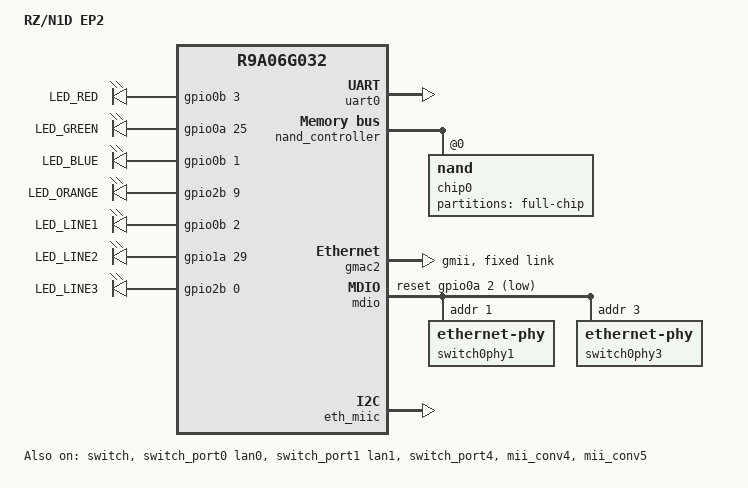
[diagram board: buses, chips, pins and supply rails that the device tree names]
// SPDX-License-Identifier: GPL-2.0
/*
 * Device Tree Source for the Renesas RZ/N1D EP2 board
 *
 * Copyright (C) 2018 Renesas Electronics Europe Limited
 * Copyright (C) 2021 Schneider Electric
 *
 */

/dts-v1/;

#include <dt-bindings/gpio/gpio.h>
#include <dt-bindings/pinctrl/rzn1-pinctrl.h>
#include <dt-bindings/net/pcs-rzn1-miic.h>
#include "r9a06g032.dtsi"

/ {
	model = "RZ/N1D EP2";
	compatible = "renesas,rzn1d400-ep2", "renesas,r9a06g032", "renesas,rzn1";

	chosen {
		stdout-path = "serial0:115200n8";
	};

	aliases {
		serial0 = &uart0;
	};

	leds {
		compatible = "gpio-leds";
		pinctrl-names = "default";
		pinctrl-0 = <&leds_gpio>;

		led_red {
			label = "LED_RED";
			/* LED_GPIO1 (GPIO0B[3]) */
			gpios = <&gpio0b 3 GPIO_ACTIVE_HIGH>;
			default-state = "off";
		};

		led_green {
			label = "LED_GREEN";
			/* LED_GPIO2 (GPIO0A[25]) */
			gpios = <&gpio0a 25 GPIO_ACTIVE_HIGH>;
			default-state = "on";
		};

		led_blue {
			label = "LED_BLUE";
			/* LED_GPIO3 (GPIO0B[1]) */
			gpios = <&gpio0b 1 GPIO_ACTIVE_HIGH>;
			default-state = "on";
		};

		led_orange {
			label = "LED_ORANGE";
			/* LED_GPIO4 (GPIO2B[9]) */
			gpios = <&gpio2b 9 GPIO_ACTIVE_HIGH>;
			default-state = "off";
		};

		led_line1 {
			label = "LED_LINE1";
			/* LED_GPIO5 (GPIO0B[2]) */
			gpios = <&gpio0b 2 GPIO_ACTIVE_HIGH>;
			default-state = "off";
		};

		led_line2 {
			label = "LED_LINE2";
			/* LED_GPIO6 (GPIO1A[29]) */
			gpios = <&gpio1a 29 GPIO_ACTIVE_HIGH>;
			default-state = "off";
		};

		led_line3 {
			label = "LED_LINE3";
			/* LED_GPIO7 (GPIO2B[0]) */
			gpios = <&gpio2b 0 GPIO_ACTIVE_HIGH>;
			default-state = "off";
		};
	};
};

&uart0 {
	pinctrl-0 = <&pins_uart0>;
	pinctrl-names = "default";
	status = "okay";
};

&nand_controller {
	pinctrl-0 = <&pins_nand>;
	pinctrl-names = "default";
	status = "okay";

	nand@0 {
		reg = <0>;
		nand-rb = <0>;
		label = "chip0";

		partitions {
			compatible = "fixed-partitions";
			#address-cells = <1>;
			#size-cells = <1>;

			partition@0 {
				label = "full-chip";
				reg = <0x0000000 0x20000000>;
			};
		};
	};
};

&gpio0 {
	status = "okay";
};

&gpio1 {
	status = "okay";
};

&gpio2 {
	status = "okay";
};

/* Compute gpio irq numbers: gpioXa Y = 32*X + Y */
#define GPIOA_IRQ(gpioa_block, nr)	(32 * (gpioa_block) + (nr))

&gpioirqmux {
	status = "okay";
	interrupt-map =
		<GPIOA_IRQ(0, 11) &gic GIC_SPI 103 IRQ_TYPE_LEVEL_HIGH>, /* EPHY1_IRQ (GPIO0A[11]) */
		<GPIOA_IRQ(0, 12) &gic GIC_SPI 104 IRQ_TYPE_LEVEL_HIGH>; /* EPHY2_IRQ (GPIO0A[12]) */
};

&gmac2 {
	status = "okay";
	phy-mode = "gmii";
	/* Uses a fixed 1Gbps link between the 5-port switch and GMAC1. */
	fixed-link {
		speed = <1000>;
		full-duplex;
	};
};

&switch {
	status = "okay";
	#address-cells = <1>;
	#size-cells = <0>;

	pinctrl-names = "default";
	pinctrl-0 = <&pins_mdio1>, <&pins_eth3>, <&pins_eth4>;

	dsa,member = <0 0>;

	mdio {
		reset-gpios = <&gpio0a 2 GPIO_ACTIVE_LOW>;
		reset-delay-us = <15000>;
		clock-frequency = <2500000>;

		#address-cells = <1>;
		#size-cells = <0>;

		switch0phy1: ethernet-phy@1{
			reg = <1>;
			ti,reg-init = <0x17 0xff7f 0x0>,
				      <0x19 0xffdf 0x0>,
				      <0x462 0xfff8 0x1>,
				      <0x469 0xfbff 0x0>;
		};

		switch0phy3: ethernet-phy@3{
			reg = <3>;
			ti,reg-init = <0x17 0xff7f 0x0>,
				      <0x19 0xffdf 0x0>,
				      <0x462 0xfff8 0x1>,
				      <0x469 0xfbff 0x0>;
		};
	};
};

&switch_port0 {
	label = "lan0";
	phy-mode = "mii";
	phy-handle = <&switch0phy3>;
	status = "okay";
};

&switch_port1 {
	label = "lan1";
	phy-mode = "mii";
	phy-handle = <&switch0phy1>;
	status = "okay";
};

&switch_port4 {
	status = "okay";
};

&eth_miic {
	status = "okay";
	renesas,miic-switch-portin = <MIIC_GMAC2_PORT>;
};

&mii_conv4 {
	renesas,miic-input = <MIIC_SWITCH_PORTB>;
	status = "okay";
};

&mii_conv5 {
	renesas,miic-input = <MIIC_SWITCH_PORTA>;
	status = "okay";
};

&pinctrl {
	pins_eth3: pins_eth3 {
		pinmux = <
			RZN1_PINMUX(36, RZN1_FUNC_CLK_ETH_MII_RGMII_RMII)	/* ETH3_TXCLK */
			RZN1_PINMUX(37, RZN1_FUNC_CLK_ETH_MII_RGMII_RMII)	/* ETH3_TXD[0] */
			RZN1_PINMUX(38, RZN1_FUNC_CLK_ETH_MII_RGMII_RMII)	/* ETH3_TXD[1] */
			RZN1_PINMUX(39, RZN1_FUNC_CLK_ETH_MII_RGMII_RMII)	/* ETH3_TXD[2] */
			RZN1_PINMUX(40, RZN1_FUNC_CLK_ETH_MII_RGMII_RMII)	/* ETH3_TXD[3] */
			RZN1_PINMUX(41, RZN1_FUNC_CLK_ETH_MII_RGMII_RMII)	/* ETH3_TXEN */
			RZN1_PINMUX(42, RZN1_FUNC_CLK_ETH_MII_RGMII_RMII)	/* ETH3_RXCLK */
			RZN1_PINMUX(43, RZN1_FUNC_CLK_ETH_MII_RGMII_RMII)	/* ETH3_RXD[0] */
			RZN1_PINMUX(44, RZN1_FUNC_CLK_ETH_MII_RGMII_RMII)	/* ETH3_RXD[1] */
			RZN1_PINMUX(45, RZN1_FUNC_CLK_ETH_MII_RGMII_RMII)	/* ETH3_RXD[2] */
			RZN1_PINMUX(46, RZN1_FUNC_CLK_ETH_MII_RGMII_RMII)	/* ETH3_RXD[3] */
			RZN1_PINMUX(47, RZN1_FUNC_CLK_ETH_MII_RGMII_RMII)	/* ETH3_RXDV */
			RZN1_PINMUX(67, RZN1_FUNC_CLK_ETH_MII_RGMII_RMII)	/* ETH3_RXER */
			RZN1_PINMUX(68, RZN1_FUNC_CLK_ETH_MII_RGMII_RMII)	/* ETH3_CRS */
			RZN1_PINMUX(69, RZN1_FUNC_CLK_ETH_MII_RGMII_RMII)	/* ETH3_COL */
		>;
	};

	pins_eth4: pins_eth4 {
		pinmux = <
			RZN1_PINMUX(48, RZN1_FUNC_CLK_ETH_MII_RGMII_RMII)	/* ETH4_TXCLK */
			RZN1_PINMUX(49, RZN1_FUNC_CLK_ETH_MII_RGMII_RMII)	/* ETH4_TXD[0] */
			RZN1_PINMUX(50, RZN1_FUNC_CLK_ETH_MII_RGMII_RMII)	/* ETH4_TXD[1] */
			RZN1_PINMUX(51, RZN1_FUNC_CLK_ETH_MII_RGMII_RMII)	/* ETH4_TXD[2] */
			RZN1_PINMUX(52, RZN1_FUNC_CLK_ETH_MII_RGMII_RMII)	/* ETH4_TXD[3] */
			RZN1_PINMUX(53, RZN1_FUNC_CLK_ETH_MII_RGMII_RMII)	/* ETH4_TXEN */
			RZN1_PINMUX(54, RZN1_FUNC_CLK_ETH_MII_RGMII_RMII)	/* ETH4_RXCLK */
			RZN1_PINMUX(55, RZN1_FUNC_CLK_ETH_MII_RGMII_RMII)	/* ETH4_RXD[0] */
			RZN1_PINMUX(56, RZN1_FUNC_CLK_ETH_MII_RGMII_RMII)	/* ETH4_RXD[1] */
			RZN1_PINMUX(57, RZN1_FUNC_CLK_ETH_MII_RGMII_RMII)	/* ETH4_RXD[2] */
			RZN1_PINMUX(58, RZN1_FUNC_CLK_ETH_MII_RGMII_RMII)	/* ETH4_RXD[3] */
			RZN1_PINMUX(59, RZN1_FUNC_CLK_ETH_MII_RGMII_RMII)	/* ETH4_RXDV */
			RZN1_PINMUX(71, RZN1_FUNC_CLK_ETH_MII_RGMII_RMII)	/* ETH4_RXER */
			RZN1_PINMUX(72, RZN1_FUNC_CLK_ETH_MII_RGMII_RMII)	/* ETH4_CRS */
			RZN1_PINMUX(73, RZN1_FUNC_CLK_ETH_MII_RGMII_RMII)	/* ETH4_COL */
		>;
	};

	pins_mdio1: pins_mdio1 {
		pinmux = <
			RZN1_PINMUX(152, RZN1_FUNC_MDIO1_SWITCH) /* MDIO1_MDC */
			RZN1_PINMUX(153, RZN1_FUNC_MDIO1_SWITCH) /* MDIO1_MDIO */
			RZN1_PINMUX(60, RZN1_FUNC_CLK_ETH_NAND)	/* REFCLK_MII[0] */
			RZN1_PINMUX(61, RZN1_FUNC_CLK_ETH_NAND)	/* REFCLK_MII[1] */
			RZN1_PINMUX(4, RZN1_FUNC_GPIO)	/* EPHY_SOFT_RESET (GPIO0A[2]) */
			RZN1_PINMUX(27, RZN1_FUNC_GPIO)	/* EPHY1_IRQ (GPIO0A[11]) */
			RZN1_PINMUX(28, RZN1_FUNC_GPIO)	/* EPHY2_IRQ (GPIO0A[12]) */
		>;
	};

	pins_nand: pins_nand {
		pinmux = <
		RZN1_PINMUX(80, RZN1_FUNC_CLK_ETH_NAND)	/* NAND_ALE */
		RZN1_PINMUX(81, RZN1_FUNC_CLK_ETH_NAND)	/* NAND_CLE */
		RZN1_PINMUX(82, RZN1_FUNC_CLK_ETH_NAND)	/* NAND_WE_N */
		RZN1_PINMUX(83, RZN1_FUNC_CLK_ETH_NAND)	/* NAND_RE_N */
		RZN1_PINMUX(84, RZN1_FUNC_CLK_ETH_NAND)	/* NAND_IO[0] */
		RZN1_PINMUX(85, RZN1_FUNC_CLK_ETH_NAND)	/* NAND_IO[1] */
		RZN1_PINMUX(86, RZN1_FUNC_CLK_ETH_NAND)	/* NAND_IO[2] */
		RZN1_PINMUX(87, RZN1_FUNC_CLK_ETH_NAND)	/* NAND_IO[3] */
		RZN1_PINMUX(88, RZN1_FUNC_CLK_ETH_NAND)	/* NAND_IO[4] */
		RZN1_PINMUX(89, RZN1_FUNC_CLK_ETH_NAND)	/* NAND_IO[5] */
		RZN1_PINMUX(90, RZN1_FUNC_CLK_ETH_NAND)	/* NAND_IO[6] */
		RZN1_PINMUX(91, RZN1_FUNC_CLK_ETH_NAND)	/* NAND_IO[7] */
		RZN1_PINMUX(92, RZN1_FUNC_CLK_ETH_NAND)	/* NAND_CE_N[0] */
		RZN1_PINMUX(93, RZN1_FUNC_CLK_ETH_NAND)	/* NAND_WP_N[0] */
		RZN1_PINMUX(94, RZN1_FUNC_CLK_ETH_NAND)	/* NAND_RYBY_N[0] */
		>;
	};

	leds_gpio: leds_gpio {
		pinmux = <
		RZN1_PINMUX(2, RZN1_FUNC_GPIO)
		RZN1_PINMUX(5, RZN1_FUNC_GPIO)
		RZN1_PINMUX(6, RZN1_FUNC_GPIO)
		RZN1_PINMUX(62, RZN1_FUNC_GPIO)
		RZN1_PINMUX(119, RZN1_FUNC_GPIO)
		RZN1_PINMUX(160, RZN1_FUNC_GPIO)
		RZN1_PINMUX(169, RZN1_FUNC_GPIO)
		>;
	};

	pins_uart0: pins_uart0 {
		pinmux = <
		RZN1_PINMUX(103, RZN1_FUNC_UART0_I)	/* UART0_TXD */
		RZN1_PINMUX(104, RZN1_FUNC_UART0_I)	/* UART0_RXD */
		>;
	};
};
